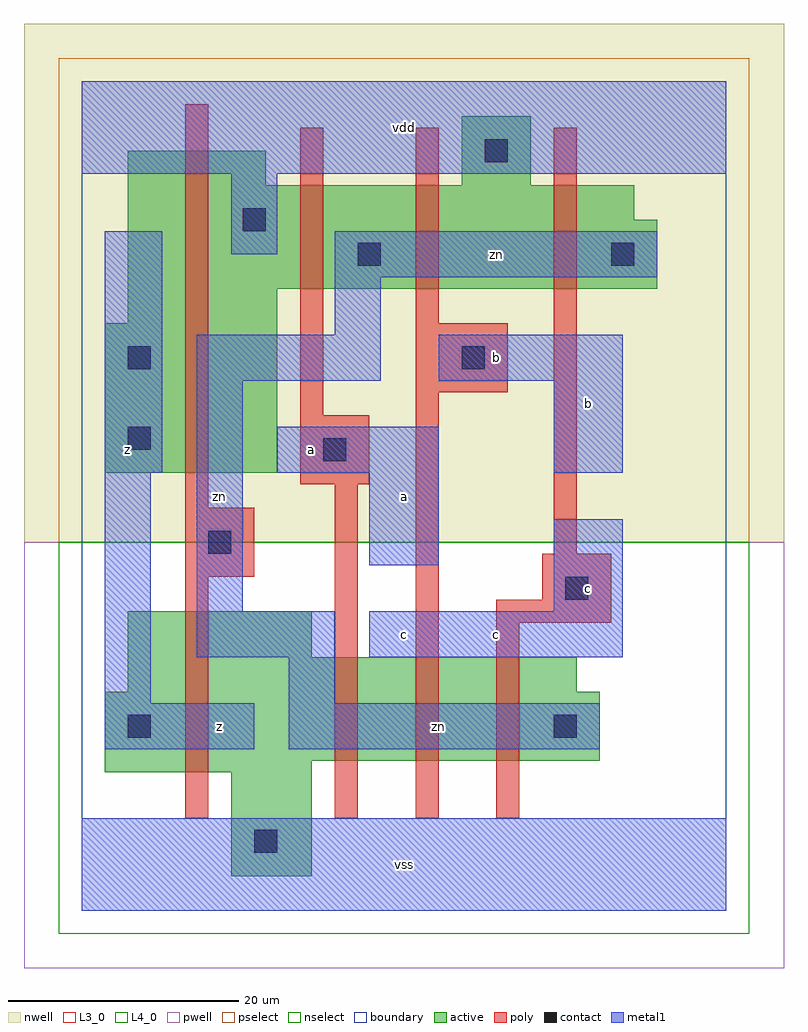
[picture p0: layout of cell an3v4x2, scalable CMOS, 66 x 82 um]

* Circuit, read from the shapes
.subckt an3v4x2 a b c vdd vss z zn
M1 vss zn z VSUBS nfet w=14u l=2u
M2 n1 a vss VSUBS nfet w=9u l=2u
M3 n2 b n1 VSUBS nfet w=9u l=2u
M4 zn c n2 VSUBS nfet w=9u l=2u
M5 vdd zn z n3 pfet w=28u l=2u
M6 zn a vdd n3 pfet w=9u l=2u
M7 vdd b zn n3 pfet w=9u l=2u
M8 zn c vdd n3 pfet w=9u l=2u
.ends

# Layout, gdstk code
import gdstk
lib = gdstk.Library(unit=1e-6, precision=1e-09)
def R(c, l, rs):  # rectangles x0, y0, x1, y1
    for r in rs: c.add(gdstk.rectangle(r[:2], r[2:], *l))
L3_0 = (3, 0)
L4_0 = (4, 0)
contact = (25, 0)
pwell = (41, 0)
nwell = (42, 0)
active = (43, 0)
pselect = (44, 0)
nselect = (45, 0)
poly = (46, 0)
metal1 = (49, 0)
boundary = (63, 0)

an3v4x2 = lib.new_cell('an3v4x2')
R(an3v4x2, L3_0, [(13,3,20,12), (2,12,20,13), (2,13,45,19), (4,19,43,22), (4,22,20,26)])
R(an3v4x2, L4_0, [(2,38,17,51), (4,51,17,54), (4,54,50,60), (4,60,48,63), (4,63,16,66), (33,63,39,69)])
R(an3v4x2, contact, [(15,5,17,7), (4,15,6,17), (41,15,43,17), (42,27,44,29), (11,31,13,33), (21,39,23,41), (4,40,6,42), (4,47,6,49), (33,47,35,49), (24,56,26,58), (46,56,48,58), (14,59,16,61), (35,65,37,67)])
R(an3v4x2, pwell, [(-5,-5,61,32)])
R(an3v4x2, nwell, [(-5,32,61,77)])
R(an3v4x2, active, [(13,3,20,12), (2,12,20,13), (2,13,45,19), (4,19,43,22), (4,22,20,26), (2,38,17,51), (4,51,17,54), (4,54,50,60), (4,60,48,63), (4,63,16,66), (33,63,39,69)])
R(an3v4x2, pselect, [(-2,32,58,74)])
R(an3v4x2, nselect, [(-2,-2,58,32)])
R(an3v4x2, poly, [(9,8,11,29), (22,8,24,37), (29,8,31,45), (36,8,38,25), (36,25,46,27), (40,27,46,31), (9,29,15,35), (41,31,43,68), (9,35,11,70), (19,37,25,43), (19,43,21,68), (29,45,37,51), (29,51,31,68)])
R(an3v4x2, metal1, [(0,0,56,8), (2,14,15,18), (18,14,45,18), (2,18,6,38), (18,18,22,22), (10,22,22,26), (25,22,47,26), (10,26,14,46), (41,26,47,34), (25,30,31,38), (2,38,7,59), (17,38,31,42), (41,38,47,46), (10,46,26,50), (31,46,47,50), (22,50,26,55), (22,55,50,59), (13,57,17,64), (0,64,56,72)])
R(an3v4x2, boundary, [(0,0,56,72)])
an3v4x2.add(gdstk.Label('zn', (12,36), layer=49, texttype=0))
an3v4x2.add(gdstk.Label('zn', (31,16), layer=49, texttype=0))
an3v4x2.add(gdstk.Label('zn', (36,57), layer=49, texttype=0))
an3v4x2.add(gdstk.Label('z', (4,40), layer=49, texttype=0))
an3v4x2.add(gdstk.Label('z', (12,16), layer=49, texttype=0))
an3v4x2.add(gdstk.Label('a', (20,40), layer=49, texttype=0))
an3v4x2.add(gdstk.Label('vss', (28,4), layer=49, texttype=0))
an3v4x2.add(gdstk.Label('c', (28,24), layer=49, texttype=0))
an3v4x2.add(gdstk.Label('c', (36,24), layer=49, texttype=0))
an3v4x2.add(gdstk.Label('a', (28,36), layer=49, texttype=0))
an3v4x2.add(gdstk.Label('b', (36,48), layer=49, texttype=0))
an3v4x2.add(gdstk.Label('vdd', (28,68), layer=49, texttype=0))
an3v4x2.add(gdstk.Label('c', (44,28), layer=49, texttype=0))
an3v4x2.add(gdstk.Label('b', (44,44), layer=49, texttype=0))

lib.write_gds('an3v4x2.gds')
